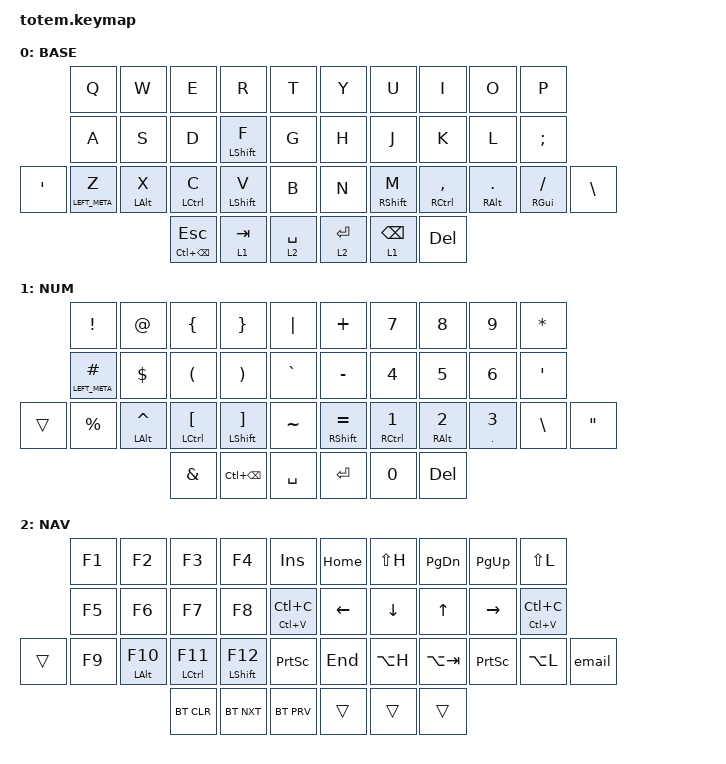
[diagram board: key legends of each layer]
//
//                                                        ▀▀▀▀▀     ▀▀▀▀▀          ▀▀█▀▀
//                                                        ▄▀▀▀▄  ▄  ▄▀▀▀▄  ▄  ▄▀▀▀▄  █  ▄▀▀▀▄
//                                                        █   █  █  █   █  █  █   █  █  █   █
//                                                         ▀▀▀   █   ▀▀▀   █   ▀▀▀   ▀   ▀▀▀
//                                                               █      ▄▄▄█▄▄▄    █   █  
//                                                               ▀      █  █  █     █▄█
//                                                             ▀▀▀▀▀    █  █  █      ▀
//                                                                      ▀  ▀  ▀
//
// ▄▄▄▄▄▄▄▄▄▄▄▄▄▄▄▄▄▄▄▄▄▄▄▄▄▄▄▄▄▄▄▄▄▄▄▄▄▄▄▄▄▄▄▄▄▄▄▄▄▄▄▄▄▄▄▄▄▄▄▄▄▄▄▄▄▄▄▄▄▄▄▄▄▄▄▄▄▄▄▄▄▄▄▄▄▄▄▄▄▄▄▄▄▄▄▄▄▄▄▄▄▄▄▄▄▄▄▄▄▄▄▄▄▄▄▄▄▄▄▄▄▄▄▄▄▄▄▄▄▄▄▄▄▄▄▄▄▄▄▄▄▄▄▄▄▄▄▄▄
       

#include <behaviors.dtsi>
#include <dt-bindings/zmk/keys.h>
#include <dt-bindings/zmk/bt.h>
#include <dt-bindings/zmk/outputs.h>

#define BASE 0
#define NAV  1
#define SYM  2
#define ADJ  3
#define TVP1 4
#define TVP2 5
#define SYM1 6
#define EXT  7
#define FNC  8
#define SETTINGS  9

&mt {
  quick-tap-ms = <100>;
  global-quick-tap;
  flavor = "tap-preferred";
  tapping-term-ms = <170>;
};

&sk {
    ignore-modifiers;
};

/ {
    behaviors {
            hm: homerow_mods {
                compatible = "zmk,behavior-hold-tap";
                label = "HOMEROW_MODS";
                bindings = <&kp>, <&kp>;

                #binding-cells = <2>;
                tapping-term-ms = <200>;
                flavor = "tap-preferred";
                require-prior-idle-ms = <125>;
                quick-tap-ms = <200>;
            };

            shifthr: shifthr {
                compatible = "zmk,behavior-hold-tap";
                label = "SHIFTHR";
                bindings = <&kp>, <&kp>;

                #binding-cells = <2>;
                tapping-term-ms = <185>;
                flavor = "tap-preferred";
                quick-tap-ms = <185>;
            };

            weak: weak {
                compatible = "zmk,behavior-hold-tap";
                label = "WEAK";
                bindings = <&kp>, <&kp>;

                #binding-cells = <2>;
                tapping-term-ms = <230>;
                flavor = "tap-preferred";
                require-prior-idle-ms = <125>;
                quick-tap-ms = <230>;
            };

            backspace: backspace {
                compatible = "zmk,behavior-tap-dance";
                label = "BACKSPACE";
                #binding-cells = <0>;
                bindings = <&kp BACKSPACE>, <&kp LC(BACKSPACE)>;
            };
        };
        
     combos {
            compatible = "zmk,combos";
            combo_grave {
                timeout-ms = <50>;
                key-positions = <0 1>;
                bindings = <&kp GRAVE>;
            };
            combo_esc {
                timeout-ms = <50>;
                key-positions = <1 2>;
                bindings = <&kp ESC>;
            };           
            combo_lpar {
                timeout-ms = <50>;
                key-positions = <2 3>;
                bindings = <&kp LPAR>;
            };           
            combo_rpar {
                timeout-ms = <50>;
                key-positions = <3 4>;
                bindings = <&kp RPAR>;
            };           
            combo_caps {
                timeout-ms = <50>;
                key-positions = <11 12>;
                bindings = <&kp CAPS>;
            }; 
            combo_lbkt {
                timeout-ms = <50>;
                key-positions = <12 13>;
                bindings = <&kp LBKT>;
            };
            combo_rbkt {
                timeout-ms = <50>;
                key-positions = <13 14>;
                bindings = <&kp RBKT>;
            };
            combo_lbrc {
                timeout-ms = <50>;
                key-positions = <23 24>;
                bindings = <&kp LBRC>;
            };
            combo_rbrc {
                timeout-ms = <50>;
                key-positions = <24 25>;
                bindings = <&kp RBRC>;
            };
            combo_bspc {
		        timeout-ms = <50>;
		        key-positions = <7 8>;
		        bindings = <&kp BSPC>;
	        };
        };

    macros {
        save: save {
            compatible = "zmk,behavior-macro";
            #binding-cells = <0>;
            bindings = <&macro_tap>, <&kp ESCAPE &kp COLON &kp W &kp ENTER>;

            label = "SAVE";
        };

        email: email {
            compatible = "zmk,behavior-macro";
            #binding-cells = <0>;
            bindings = <&macro_tap>, <&kp Z &kp H &kp A &kp N &kp G &kp Z &kp Q &kp N7 &kp N1 &kp AT &kp H &kp O &kp T &kp M &kp A &kp I &kp L &kp DOT &kp C &kp O &kp M>;
            label = "EMAIL";
        };

        gif: gif {
            label = "giphy";
            compatible = "zmk,behavior-macro";
            #binding-cells = <0>;
            bindings
                = <&macro_press &kp LSHFT>
                , <&macro_tap &kp N2>
                , <&macro_release &kp LSHFT>
                , <&macro_tap &kp G &kp I &kp F>
                ;
        };
    };

    keymap {
            compatible = "zmk,keymap";

                base_layer {
                    label= "BASE";
                    bindings = <
        &kp Q              &kp W             &kp E                     &kp R                  &kp T        &kp Y        &kp U              &kp I                &kp O               &kp P       
        &kp A              &kp S             &kp D                     &shifthr LEFT_SHIFT F  &kp G        &kp H        &kp J              &kp K                &kp L               &kp SEMICOLON
&kp SQT &weak LEFT_META Z  &weak LEFT_ALT X  &shifthr LEFT_CONTROL C   &mt LSHFT V            &kp B        &kp N        &shifthr RSHIFT M  &shifthr RCTRL COMMA &weak RIGHT_ALT DOT &weak RGUI FSLH      &kp BSLH
                                            &hm LC(BACKSPACE) ESCAPE  &lt 1 TAB              &lt 2 SPACE  &lt 2 ENTER  &lt 1 BACKSPACE    &kp DEL
                        >;
                };

                num_layer {
                    label= "NUM";
                    bindings = <
       &kp EXCL            &kp AT               &kp LEFT_BRACE              &kp RIGHT_BRACE                   &kp PIPE     &kp PLUS         &kp NUMBER_7        &kp N8             &kp N9                    &kp ASTERISK
       &hm LEFT_META HASH  &kp DOLLAR           &kp LEFT_PARENTHESIS        &kp RIGHT_PARENTHESIS             &kp GRAVE    &kp MINUS        &kp NUMBER_4        &kp NUMBER_5       &kp NUMBER_6              &kp SQT 
&trans &kp PERCENT         &hm LEFT_ALT CARET   &hm LCTRL LEFT_BRACKET      &hm LEFT_SHIFT RIGHT_BRACKET      &kp TILDE    &hm RSHFT EQUAL  &hm RCTRL NUMBER_1  &hm RALT NUMBER_2  &shifthr DOT NUMBER_3  &kp BACKSLASH  &kp DQT
                                                &kp AMPS                    &kp LC(BACKSPACE)                 &kp SPACE    &kp RET    &kp N0     &kp DEL
                        >;
                };

                nav_layer {
                    label= "NAV";
                        bindings = <
       &kp F1            &kp F2           &kp F3        &kp F4        &kp INS             &kp HOME           &kp LS(H)       &kp PAGE_DOWN  &kp PG_UP     &kp LS(L)
       &kp F5            &kp F6           &kp F7        &kp F8        &hm LC(V) LC(C)     &kp LEFT_ARROW     &kp DOWN        &kp UP_ARROW   &kp RIGHT     &hm LC(V) LC(C)
&trans &kp F9            &hm LALT F10     &hm LCTRL F11 &hm LSHFT F12 &kp PSCRN           &kp END            &kp LA(H)       &kp LA(TAB)    &kp PSCRN     &kp LA(L)        &email
                                           &bt BT_CLR    &bt BT_NXT    &bt BT_PRV          &trans             &trans         &trans
                        >;
                };
        };
};
